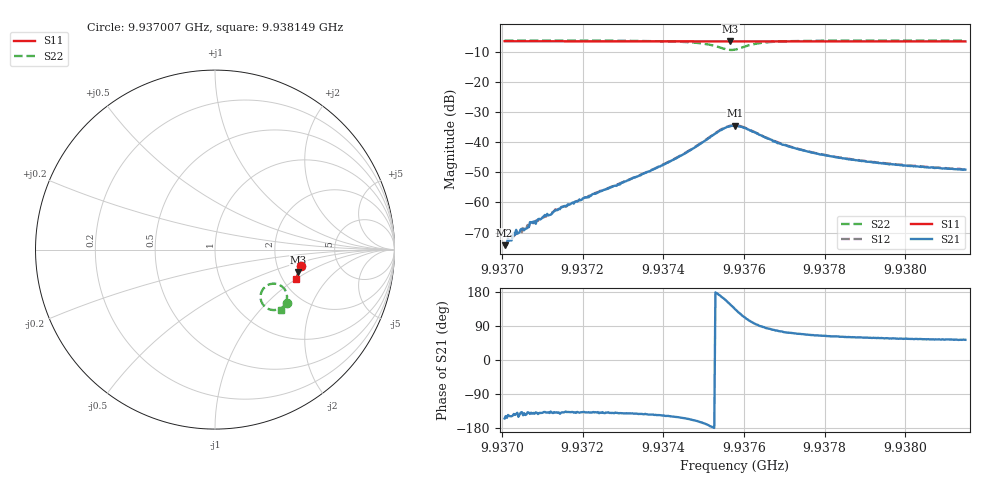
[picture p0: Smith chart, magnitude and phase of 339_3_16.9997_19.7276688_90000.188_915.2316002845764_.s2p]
#  HZ  S  RI  R  50.00
! Rohde & Schwarz Vector Network Analyzer
! Rohde-Schwarz,ZNB20-2Port,1311601062101988,3.16
! Created: UTC 3/20/2024, 11:07:15 PM
! freq[Hz]  re:S11  im:S11  re:S21  im:S21  re:S12  im:S12  re:S22  im:S22
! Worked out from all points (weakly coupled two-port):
!   401 points, 9.937007 GHz to 9.938149 GHz, reference 50 ohm
!   highest |S21| = -34.40 dB at 9.937578 GHz (marker M1); lowest = -74.3 dB at 9.937007 GHz (marker M2)
!   lowest |S11| = -6.4 dB at 9.937566 GHz (marker M3), VSWR 2.85, Z = 127 - j41.2 ohm
!   |S11| at or under -10 dB: nowhere
!   |S22| runs from -9.2 to -6.0 dB; largest |S21 - S12| = 0.00071
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9.9370066e9  0.4766 -0.0886  -0.000174 -8.42e-05  -0.000164 -9.1e-05  0.3989 -0.3002
9.9370209e9  0.4762 -0.0896  -0.000201 -0.000122  -0.000237 -0.000121  0.398 -0.301
9.9370323e9  0.4761 -0.0903  -0.000236 -0.000165  -0.000224 -0.000185  0.3972 -0.3019
9.9370609e9  0.4756 -0.0923  -0.000296 -0.00022  -0.00028 -0.00026  0.3954 -0.304
9.9370751e9  0.4753 -0.0932  -0.000358 -0.000283  -0.000356 -0.000263  0.3941 -0.3051
9.9370809e9  0.4751 -0.0936  -0.000378 -0.000295  -0.000374 -0.00029  0.3941 -0.3056
9.9371323e9  0.4743 -0.0972  -0.000555 -0.000483  -0.000573 -0.000512  0.3899 -0.3093
9.937198e9  0.473 -0.1016  -0.000827 -0.000749  -0.000883 -0.00073  0.384 -0.3145
9.9372865e9  0.4711 -0.1076  -0.00149 -0.00127  -0.00155 -0.00129  0.374 -0.3222
9.9373893e9  0.469 -0.1145  -0.00325 -0.00225  -0.0033 -0.0022  0.354 -0.3323
9.9374522e9  0.4675 -0.1188  -0.00582 -0.0029  -0.00594 -0.00282  0.3297 -0.3369
9.9375064e9  0.4656 -0.1223  -0.0108 -0.00201  -0.011 -0.00189  0.2881 -0.3254
9.9375464e9  0.4642 -0.1245  -0.016 0.00426  -0.0163 0.00452  0.2543 -0.2696
9.9375664e9  0.4635 -0.1249  -0.0155 0.0103  -0.0157 0.0108  0.2666 -0.2219
9.9375779e9  0.4635 -0.1252  -0.0132 0.0137  -0.0131 0.014  0.2887 -0.2009
9.9376007e9  0.4638 -0.1262  -0.00691 0.016  -0.00668 0.0166  0.3421 -0.1911
9.9376407e9  0.4637 -0.1292  0.000156 0.0133  0.000304 0.0133  0.3915 -0.2271
9.9376892e9  0.4629 -0.1326  0.00236 0.00927  0.00253 0.00941  0.4014 -0.2632
9.9377692e9  0.4613 -0.1381  0.00278 0.00617  0.00291 0.00618  0.3962 -0.2929
9.9378606e9  0.4591 -0.1443  0.00256 0.00455  0.00271 0.00461  0.388 -0.3097
9.9379606e9  0.4565 -0.1507  0.00237 0.00361  0.00248 0.00367  0.38 -0.3211
9.9381491e9  0.4516 -0.163  0.00211 0.00283  0.00217 0.00281  0.3669 -0.3361
